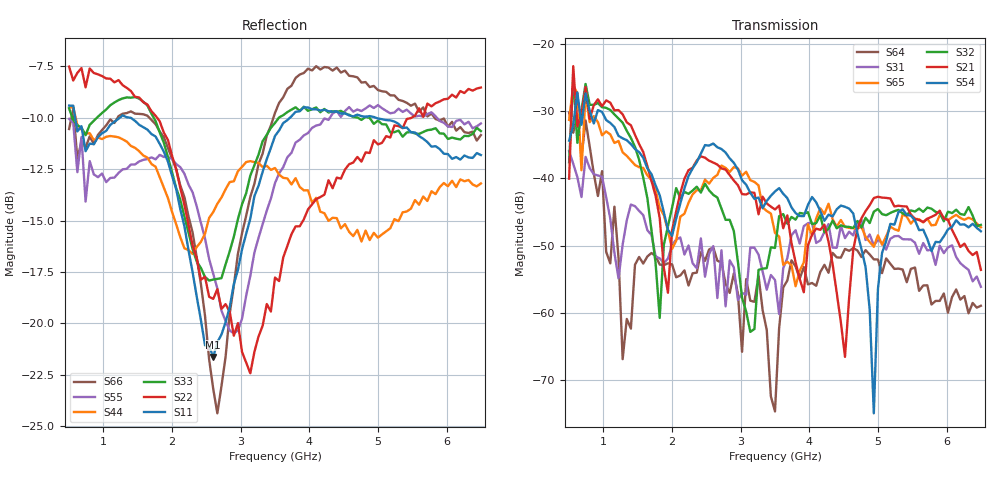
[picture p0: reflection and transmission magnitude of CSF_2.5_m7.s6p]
!Keysight Technologies,M9804A,MY58100912,A.14.10.03
!Date: Thursday, April 27, 2023 10:28:33
!Correction: S11(C  6-Port  )
!S12(C  6-Port  )
!S13(C  6-Port  )
!S14(C  6-Port  )
!S15(C  6-Port  )
!S16(C  6-Port  )
!S21(C  6-Port  )
!S22(C  6-Port  )
!S23(C  6-Port  )
!S24(C  6-Port  )
!S25(C  6-Port  )
!S26(C  6-Port  )
!S31(C  6-Port  )
!S32(C  6-Port  )
!S33(C  6-Port  )
!S34(C  6-Port  )
!S35(C  6-Port  )
!S36(C  6-Port  )
!S41(C  6-Port  )
!S42(C  6-Port  )
!S43(C  6-Port  )
!S44(C  6-Port  )
!S45(C  6-Port  )
!S46(C  6-Port  )
!S51(C  6-Port  )
!S52(C  6-Port  )
!S53(C  6-Port  )
!S54(C  6-Port  )
!S55(C  6-Port  )
!S56(C  6-Port  )
!S61(C  6-Port  )
!S62(C  6-Port  )
!S63(C  6-Port  )
!S64(C  6-Port  )
!S65(C  6-Port  )
!S66(C  6-Port  )
!S6P File: Measurement: :
# Hz S  RI  R 50
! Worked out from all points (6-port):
!   101 points, 500 MHz to 6.5 GHz, reference 50 ohm
!   strongest paths, dB at 500 MHz, 2 GHz, 3.5 GHz, 5 GHz, 6.5 GHz:
!     S54: -34.4, -48.5, -41.9, -56.4, -47.8
!     S21: -40.0, -47.7, -44.6, -42.7, -53.6
!     S32: -37.6, -44.3, -50.3, -44.5, -46.9
!     S65: -31.3, -50.5, -48.1, -48.4, -47.3
!     S31: -35.9, -49.9, -55.1, -49.1, -56.1
!     S64: -30.2, -52.8, -74.6, -52.0, -58.9
!   lowest |S11| = -21.6 dB at 2.6 GHz (marker M1), VSWR 1.18, Z = 42.6 + j2.04 ohm
!   |S11| at or under -10 dB: 588.2 MHz to 1.237 GHz (648.6 MHz wide, 71.1 % of centre); 1.396 GHz to 3.716 GHz (2.32 GHz wide, 90.7 % of centre); 4.973 GHz to end of sweep
